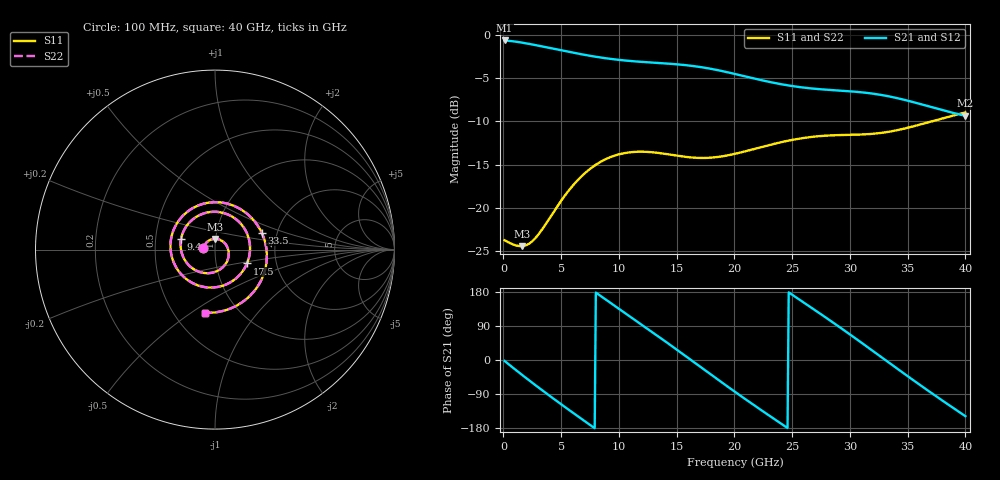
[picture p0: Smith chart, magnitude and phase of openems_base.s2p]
! D_s8_stitch_5p0: L1 (ref L2) → L8 (ref L7), one GND via at 5 mm
! stackup: 8-layer 1.6 mm FR-4 (generic)
! ports: 1, 2
! openEMS 0.37.0, staircase, base mesh (dfine 0.035 mm), 904995 cells
# Hz S RI R 50
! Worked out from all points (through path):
!   400 points, 100 MHz to 40 GHz, reference 50 ohm
!   highest |S21| = -0.59 dB at 100 MHz (marker M1); lowest = -9.3 dB at 40 GHz (marker M2)
!   group delay of S21, straight-line fit = 59.8 ps
!   lowest |S11| = -24.5 dB at 1.6 GHz (marker M3), VSWR 1.13, Z = 49.8 + j5.97 ohm
!   |S11| at or under -10 dB: start of sweep to 37.05 GHz
!   |S22| runs from -24.5 to -9.0 dB; largest |S21 - S12| = 5.4e-05
!   S11 on the Smith chart (normalised r, x): 100 MHz: 0.88, +0.01; 9.4 GHz: 0.68, +0.08; 17.5 GHz: 1.41, -0.23; 33.5 GHz: 1.66, +0.34; 40 GHz: 0.70, -0.57
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1e8  -0.0642 0.00712  0.9329 -0.0413  0.9329 -0.0413  -0.0642 0.00708
1.6e9  0.00187 0.0597  0.7045 -0.5717  0.7045 -0.5717  0.00186 0.0598
2.8e9  0.0615 0.0264  0.3403 -0.8082  0.3403 -0.8083  0.0615 0.0265
4e9  0.0739 -0.0461  -0.0668 -0.8422  -0.0668 -0.8422  0.0739 -0.0461
5.5e9  0.00711 -0.1217  -0.4956 -0.6357  -0.4956 -0.6357  0.00712 -0.1217
6.8e9  -0.0911 -0.1228  -0.71 -0.3117  -0.71 -0.3117  -0.0911 -0.1228
8.1e9  -0.1712 -0.053  -0.7471 0.0553  -0.7471 0.0553  -0.1712 -0.053
9.4e9  -0.1895 0.0574  -0.6183 0.3847  -0.6183 0.3847  -0.1895 0.0574
1.15e10  -0.0758 0.1968  -0.1643 0.6857  -0.1643 0.6857  -0.0758 0.1968
1.34e10  0.0837 0.1902  0.3186 0.6136  0.3186 0.6136  0.0837 0.1902
1.55e10  0.1871 0.0652  0.6469 0.1907  0.6469 0.1907  0.1871 0.0652
1.75e10  0.1784 -0.077  0.5713 -0.3043  0.5713 -0.3043  0.1784 -0.077
2.01e10  0.0441 -0.2008  0.0504 -0.5934  0.0504 -0.5934  0.0441 -0.2008
2.16e10  -0.0711 -0.2061  -0.2575 -0.5015  -0.2575 -0.5015  -0.0711 -0.2061
2.35e10  -0.2008 -0.1224  -0.4861 -0.2081  -0.4861 -0.2081  -0.2008 -0.1224
2.67e10  -0.2137 0.1435  -0.3613 0.3332  -0.3613 0.3332  -0.2137 0.1435
2.98e10  0.0178 0.2638  0.1476 0.451  0.1476 0.451  0.0178 0.2638
3.17e10  0.1656 0.2099  0.3986 0.2326  0.3986 0.2326  0.1656 0.2099
3.34e10  0.256 0.1029  0.4384 -0.0573  0.4384 -0.0573  0.256 0.1029
3.35e10  0.2597 0.0952  0.4345 -0.074  0.4345 -0.074  0.2597 0.0952
3.66e10  0.2525 -0.1802  0.0859 -0.3812  0.0859 -0.3812  0.2525 -0.1802
4e10  -0.0585 -0.352  -0.2904 -0.1793  -0.2904 -0.1793  -0.0585 -0.352
